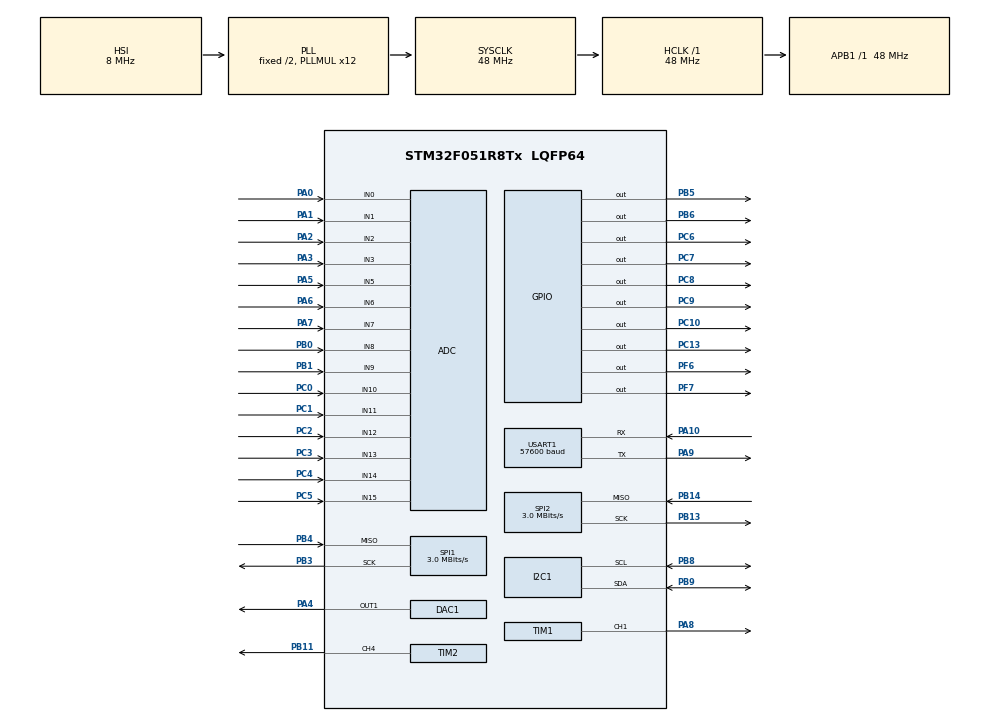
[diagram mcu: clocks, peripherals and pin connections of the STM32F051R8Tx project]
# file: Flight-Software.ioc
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DAC1.DAC_OutputBuffer=DAC_OUTPUTBUFFER_ENABLE
Dma.ADC.0.Direction=DMA_PERIPH_TO_MEMORY
Dma.ADC.0.Instance=DMA1_Channel1
Dma.ADC.0.MemDataAlignment=DMA_MDATAALIGN_HALFWORD
Dma.ADC.0.MemInc=DMA_MINC_ENABLE
Dma.ADC.0.Mode=DMA_NORMAL
Dma.ADC.0.PeriphDataAlignment=DMA_PDATAALIGN_HALFWORD
Dma.ADC.0.PeriphInc=DMA_PINC_DISABLE
Dma.ADC.0.Priority=DMA_PRIORITY_LOW
Dma.Request0=ADC
Mcu.Family=STM32F0
Mcu.Name=STM32F051R8Tx
Mcu.Package=LQFP64
<<<<<<< HEAD:Firmware/Firmware.ioc
=======
>>>>>>> vacuum-test:Flight-Software/Flight-Software.ioc
NVIC.DMA1_Channel1_IRQn=true\:0\:0\:false\:false\:true\:false\:true\:true
NVIC.TIM1_BRK_UP_TRG_COM_IRQn=true\:1\:0\:true\:false\:true\:true\:true\:true
NVIC.TIM1_CC_IRQn=true\:1\:0\:true\:false\:true\:true\:true\:true
NVIC.TIM2_IRQn=true\:1\:0\:true\:false\:true\:true\:true\:true
NVIC.USART1_IRQn=true\:0\:0\:true\:false\:true\:true\:true\:true
PA0.Mode=IN0
PA0.Signal=ADC_IN0
PA1.Mode=IN1
PA1.Signal=ADC_IN1
PA10.Mode=Asynchronous
PA10.Signal=USART1_RX
PA13.Mode=Serial_Wire
PA13.Signal=SYS_SWDIO
PA14.Mode=Serial_Wire
PA14.Signal=SYS_SWCLK
PA2.Mode=IN2
PA2.Signal=ADC_IN2
PA3.Mode=IN3
PA3.Signal=ADC_IN3
PA4.Signal=COMP_DAC11_group
<<<<<<< HEAD:Firmware/Firmware.ioc
=======
PA5.Mode=IN5
PA5.Signal=ADC_IN5
PA6.Mode=IN6
PA6.Signal=ADC_IN6
>>>>>>> vacuum-test:Flight-Software/Flight-Software.ioc
PA7.Mode=IN7
PA7.Signal=ADC_IN7
PA8.Signal=S_TIM1_CH1
PA9.Mode=Asynchronous
PA9.Signal=USART1_TX
PB0.Mode=IN8
PB0.Signal=ADC_IN8
PB1.Mode=IN9
PB1.Signal=ADC_IN9
PB11.Signal=S_TIM2_CH4
PB13.Mode=RX_Only_Simplex_Unidirect_Master
PB13.Signal=SPI2_SCK
PB14.Mode=RX_Only_Simplex_Unidirect_Master
PB14.Signal=SPI2_MISO
PB3.Mode=RX_Only_Simplex_Unidirect_Master
PB3.Signal=SPI1_SCK
PB4.Mode=RX_Only_Simplex_Unidirect_Master
PB4.Signal=SPI1_MISO
<<<<<<< HEAD:Firmware/Firmware.ioc
=======
PB5.Signal=GPIO_Output
PB6.Signal=GPIO_Output
>>>>>>> vacuum-test:Flight-Software/Flight-Software.ioc
PB8.Mode=I2C
PB8.Signal=I2C1_SCL
PB9.Mode=I2C
PB9.Signal=I2C1_SDA
PC0.Mode=IN10
PC0.Signal=ADC_IN10
PC1.Mode=IN11
PC1.Signal=ADC_IN11
PC10.Signal=GPIO_Output
PC13.Signal=GPIO_Output
PC14-OSC32_IN.Mode=LSE-External-Oscillator
PC14-OSC32_IN.Signal=RCC_OSC32_IN
PC15-OSC32_OUT.Mode=LSE-External-Oscillator
PC15-OSC32_OUT.Signal=RCC_OSC32_OUT
PC2.Mode=IN12
PC2.Signal=ADC_IN12
PC3.Mode=IN13
PC3.Signal=ADC_IN13
PC4.Mode=IN14
PC4.Signal=ADC_IN14
PC5.Mode=IN15
PC5.Signal=ADC_IN15
PC6.Signal=GPIO_Output
PC7.Signal=GPIO_Output
PC8.Signal=GPIO_Output
PC9.Signal=GPIO_Output
PF0-OSC_IN.Mode=HSE-External-Oscillator
PF0-OSC_IN.Signal=RCC_OSC_IN
PF1-OSC_OUT.Mode=HSE-External-Oscillator
PF1-OSC_OUT.Signal=RCC_OSC_OUT
PF6.Signal=GPIO_Output
PF7.Signal=GPIO_Output
ProjectManager.HeapSize=0x200
ProjectManager.StackSize=0x400
ProjectManager.TargetToolchain=STM32CubeIDE
RCC.AHBFreq_Value=48000000
RCC.APB1Freq_Value=48000000
RCC.APB1TimFreq_Value=48000000
RCC.HCLKFreq_Value=48000000
RCC.PLLMUL=RCC_PLL_MUL12
RCC.SYSCLKFreq_VALUE=48000000
RCC.SYSCLKSource=RCC_SYSCLKSOURCE_PLLCLK
RCC.Usart1ClockSelection=RCC_USART1CLKSOURCE_HSI
SH.COMP_DAC11_group.0=DAC1_OUT1,DAC_OUT1
SH.S_TIM1_CH1.0=TIM1_CH1,PWM Generation1 CH1
SH.S_TIM2_CH4.0=TIM2_CH4,PWM Generation4 CH4
SPI1.BaudRatePrescaler=SPI_BAUDRATEPRESCALER_16
SPI1.CalculateBaudRate=3.0 MBits/s
SPI1.DataSize=SPI_DATASIZE_16BIT
SPI1.Direction=SPI_DIRECTION_2LINES_RXONLY
SPI1.Mode=SPI_MODE_MASTER
SPI1.VirtualType=VM_MASTER
SPI2.BaudRatePrescaler=SPI_BAUDRATEPRESCALER_16
SPI2.CalculateBaudRate=3.0 MBits/s
SPI2.DataSize=SPI_DATASIZE_16BIT
SPI2.Direction=SPI_DIRECTION_2LINES_RXONLY
SPI2.Mode=SPI_MODE_MASTER
SPI2.VirtualType=VM_MASTER
TIM1.AutoReloadPreload=TIM_AUTORELOAD_PRELOAD_ENABLE
TIM1.Channel-PWM\ Generation1\ CH1=TIM_CHANNEL_1
TIM1.Period=48000 - 1
TIM1.Prescaler=100 - 1
TIM1.Pulse-PWM\ Generation1\ CH1=480 -1
TIM2.AutoReloadPreload=TIM_AUTORELOAD_PRELOAD_ENABLE
TIM2.Channel-PWM\ Generation4\ CH4=TIM_CHANNEL_4
TIM2.Period=60000 - 1
TIM2.Prescaler=100 - 1
TIM2.Pulse-PWM\ Generation4\ CH4=480 - 1
USART1.BaudRate=57600
USART1.VirtualMode-Asynchronous=VM_ASYNC
VP_ADC_TempSens_Input.Mode=IN-TempSens
VP_ADC_Vref_Input.Mode=IN-Vrefint
VP_TIM1_VS_ClockSourceINT.Mode=Internal
VP_TIM2_VS_ClockSourceINT.Mode=Internal
board=custom

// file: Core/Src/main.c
/* USER CODE BEGIN Header */
// ---------------------------- FIRMWARE -------------------------------
/**
 ******************************************************************************
 * @file           : main.c
 * @brief          : Main program body
 ******************************************************************************
 * @attention
 *
 * Copyright (c) 2022 STMicroelectronics.
 * All rights reserved.
 *
 * This software is licensed under terms that can be found in the LICENSE file
 * in the root directory of this software component.
 * If no LICENSE file comes with this software, it is provided AS-IS.
 *
 ******************************************************************************
 */
/* USER CODE END Header */
#include "main.h"

/* USER CODE BEGIN PTD */
const int HK_CADENCE = 1; //Should be set at 5
typedef struct gpio gpio;
struct gpio
{
  GPIO_TypeDef *gpio;
  uint16_t pin;
};
/* Define GPIOs */
gpio _SYS_ON = {GPIOB, GPIO_PIN_5};
gpio _3V3_EN = {GPIOC, GPIO_PIN_7};
gpio _5V_EN = {GPIOC, GPIO_PIN_10};
gpio _N3V3_EN = {GPIOC, GPIO_PIN_6};
gpio _N5V_EN = {GPIOC, GPIO_PIN_8};
gpio _15V_EN = {GPIOC, GPIO_PIN_9};
gpio _N200V_EN = {GPIOC, GPIO_PIN_13};
gpio _N800V_EN = {GPIOB, GPIO_PIN_6};
gpio _SDN1 = {GPIOF, GPIO_PIN_6};
gpio _SDN2 = {GPIOF, GPIO_PIN_7};

const gpio gpios[] = {{GPIOB, GPIO_PIN_5}, {GPIOB, GPIO_PIN_6}, {GPIOC, GPIO_PIN_10}, {GPIOC, GPIO_PIN_13}, {GPIOC, GPIO_PIN_7}, {GPIOC, GPIO_PIN_8}, {GPIOC, GPIO_PIN_9}, {GPIOC, GPIO_PIN_6}, {GPIOF, GPIO_PIN_6}, {GPIOF, GPIO_PIN_7}};

/* USER CODE END PTD */

ADC_HandleTypeDef hadc;
DMA_HandleTypeDef hdma_adc;

DAC_HandleTypeDef hdac1;

I2C_HandleTypeDef hi2c1;

SPI_HandleTypeDef hspi1;
SPI_HandleTypeDef hspi2;

TIM_HandleTypeDef htim1;
TIM_HandleTypeDef htim2;

UART_HandleTypeDef huart1;

/* USER CODE BEGIN PV */
#define BUFFER_SIZE 100
uint8_t rx_buf[BUFFER_SIZE];
UART_WakeUpTypeDef WakeUpSelection;

/* Hexadecimal Addresses for I2C Temperature Sensors */
static const uint8_t I2C_addresses[4] = {(0x48 << 1), (0x4A << 1), (0x49 << 1), (0x4B << 1)};
static const uint8_t ADT7410_1 = 0x48 << 1;
static const uint8_t ADT7410_2 = 0x4A << 1;
static const uint8_t ADT7410_3 = 0x49 << 1;
static const uint8_t ADT7410_4 = 0x4B << 1;

/* Internal ADC DMA variables */
#define ADCRESULTSDMA_LENGTH 17
volatile uint16_t adcResultsDMA[ADCRESULTSDMA_LENGTH]; // array to store results of Internal ADC Poll (not sure if it has to be "volatile")
const int adcChannelCount = sizeof(adcResultsDMA) / sizeof(adcResultsDMA[0]); // variable to store the number of ADCs in use

/* DAC Variables for SWP */
/* uint32_t DAC_OUT[] = {0, 683, 1365, 2048, 2730, 3413}; */
uint32_t DAC_OUT[8] = {0, 620, 1241, 1861, 2482, 3103, 3723, 4095}; // For 3.3 volts
uint8_t step = 0;
int up = 1;

/* SPI Variables */
int raw; // Stores raw value from SPI Transfer
int pmt_raw;
int erpa_raw;
const int WRITE = 0x1; // Hex 0x1 that is sent to external ADC to trigger transfer of data

/* UART Variables */
uint8_t erpa_buf[14]; // buffer that is filled with ERPA packet info
const uint8_t erpa_sync = 0xAA; // SYNC byte to let packet interpreter / OBC know which packet is which
uint16_t erpa_seq = 0; // SEQ byte which keeps track of what # ERPA packet is being sent (0-65535)
uint8_t pmt_buf[6]; // buffer that is filled with PMT packet info
const uint8_t pmt_sync = 0xBB; // SYNC byte to let packet interpreter / OBC know which packet is which
uint16_t pmt_seq = 0; // SEQ byte which keeps track of what # ERPA packet is being sent (0-65535)
uint8_t hk_buf[38]; // buffer that is filled with HK packet info
const uint8_t hk_sync = 0xCC; // SYNC byte to let packet interpreter / OBC know which packet is which
uint16_t hk_seq = 0; // SEQ byte which keeps track of what # HK packet is being sent (0-65535)

int hk_counter = 0; // counter to know when to send HK packet (sent every 50 ERPA packets)
					// we put them in the same routine and send HK when this count == 50
int startupTimer = 0;
uint8_t PMT_ON = 1;
uint8_t ERPA_ON = 1;
uint8_t HK_ON = 1;

static const uint8_t REG_TEMP = 0x00;

#define PA1_MIN 3350
#define PA1_MAX 4096
#define PA2_MIN 0
#define PA2_MAX 0
#define PA3_MIN 3350
#define PA3_MAX 4095
#define PA5_MIN 3540
#define PA5_MAX 4327
#define PA6_MIN 2859
#define PA6_MAX 3494
#define PC0_MIN 2792
#define PC0_MAX 3412
#define PC1_MIN 3428
#define PC1_MAX 4191
#define PC2_MIN 3350
#define PC2_MAX 4288
#define PC3_MIN 3508
#define PC3_MAX 4288
#define PC4_MIN 3350
#define PC4_MAX 4095
#define PC5_MIN 3340
#define PC5_MAX 4082

/* USER CODE END PV */

void SystemClock_Config(void);
static void MX_GPIO_Init(void);
static void MX_DMA_Init(void);
static void MX_SPI2_Init(void);
static void MX_TIM1_Init(void);
static void MX_TIM2_Init(void);
static void MX_SPI1_Init(void);
static void MX_USART1_UART_Init(void);
static void MX_DAC1_Init(void);
static void MX_ADC_Init(void);
static void MX_I2C1_Init(void);

/* USER CODE BEGIN 0 */

/* TS_CAL1 & TS_CAL2 */
// #define TS_CAL1 *((uint16_t*) 0x1FFFF7B8)
// #define TS_CAL2 *((uint16_t*) 0x1FFFF7C2)

void HAL_TIM_OC_DelayElapsedCallback(TIM_HandleTypeDef *htim)
{
  if (htim == &htim2)
  {
	if (1)
	{ // check pin state
	  if (ERPA_ON)
	  {
		/**
		 * TIM1_CH1 Interrupt
		 * Sets CNV and samples ERPA's ADC
		 * Steps DAC
		 * +/- 0.5v Every 100ms
		 */

		/* Write to SPI (begin transfer?) */

		while(HAL_GPIO_ReadPin(GPIOB, GPIO_PIN_11));
					//check pin state

		/**
		 * TIM1_CH1 Interrupt
		 * Sets CNV and samples ERPA's ADC
		 * Steps DAC
		 * +/- 0.5v Every 100ms
		*/

		  /* Write to SPI (begin transfer?) */
		HAL_SPI_Transmit(&hspi2, (uint8_t * ) &WRITE, 1, 1);
		SPI2->CR1 &= ~(1<<10); // THIS IS NEEDED TO STOP SPI1_SCK FROM GENERATING CLOCK PULSES
		while (!(SPI2->SR));
		erpa_raw = SPI2->DR;

		DAC->DHR12R1 = DAC_OUT[step];

		HAL_ADC_Start_DMA(&hadc, (uint32_t *)adcResultsDMA,
						  adcChannelCount);
		uint16_t PA0 = adcResultsDMA[0]; 				// ADC_IN0, END_mon: entrance/collimator monitor
		uint16_t PA7 = adcResultsDMA[6]; 				// ADC_IN7, SWP_mon: Sweep voltage monitor
		uint16_t PB0 = adcResultsDMA[7]; 				// ADC_IN8, TMP 1: Sweep temperature
		uint16_t PB1 = adcResultsDMA[8]; 				// ADC_IN9, TMP 2: feedbacks

		erpa_buf[0] = erpa_sync;                  		// ERPA SYNC 0xAA MSB
		erpa_buf[1] = erpa_sync;                  		// ERPA SYNC 0xAA LSB
		erpa_buf[2] = ((erpa_seq & 0xFF00) >> 8); 		// ERPA SEQ # MSB
		erpa_buf[3] = (erpa_seq & 0xFF);          		// ERPA SEQ # MSB
		erpa_buf[4] = ((PA0 & 0xFF00) >> 8); 	  		// ENDmon MSB
		erpa_buf[5] = (PA0 & 0xFF);               		// ENDmon LSB
		erpa_buf[6] = ((PA7 & 0xFF00) >> 8);      		// SWP Monitored MSB
		erpa_buf[7] = (PA7 & 0xFF);               		// SWP Monitored LSB
		erpa_buf[8] = ((PB0 & 0xFF00) >> 8);      		// TEMPURATURE 1 MSB
		erpa_buf[9] = (PB0 & 0xFF);               		// TEMPURATURE 1 LSB
		erpa_buf[10] = ((PB1 & 0xFF00) >> 8);     		// TEMPURATURE 2 MSB
		erpa_buf[11] = (PB1 & 0xFF);                    // TEMPURATURE 2 LSB
		erpa_buf[12] = ((erpa_raw & 0xFF00) >> 8);      // ERPA eADC MSB
		erpa_buf[13] = (erpa_raw & 0xFF);               // ERPA eADC LSB

		erpa_seq++;
		if (ERPA_ON)
		{
		  HAL_UART_Transmit(&huart1, erpa_buf, sizeof(erpa_buf), 100);
		}
	  }
	  if (HK_ON)
	  {
		if (hk_counter == HK_CADENCE)
		{
		  uint8_t buf[2];
		  int16_t val;
		  HAL_StatusTypeDef ret;
		  float temp_c;
		  int16_t output1;
		  int16_t output2;
		  int16_t output3;
		  int16_t output4;

		  buf[0] = REG_TEMP;
		  ret = HAL_I2C_Master_Transmit(&hi2c1, ADT7410_1, buf, 1,
										1000);
		  if (ret != HAL_OK)
		  {
			strcpy((char *)buf, "Error Tx\r\n");
		  }
		  else
		  {

			/* Read 2 bytes from the temperature register */
			ret = HAL_I2C_Master_Receive(&hi2c1, ADT7410_1, buf, 2,
										 1000);
			if (ret != HAL_OK)
			{
			  strcpy((char *)buf, "Error Rx\r\n");
			}
			else
			{
			  output1 = (int16_t)(buf[0] << 8);
			  output1 = (output1 | buf[1]) >> 3;
			}
		  }

		  /* Tell ADT7410_2 that we want to read from the temperature register */
		  buf[0] = REG_TEMP;
		  ret = HAL_I2C_Master_Transmit(&hi2c1, ADT7410_2, buf, 1,
										1000);
		  /* I2C_HandleTypeDef *hi2c, uint16_t DevAddress, uint8_t *pData, uint16_t Size, uint32_t Timeout) */
		  if (ret != HAL_OK)
		  {
			strcpy((char *)buf, "Error Tx\r\n");
		  }
		  else
		  {

			/* Read 2 bytes from the temperature register */
			ret = HAL_I2C_Master_Receive(&hi2c1, ADT7410_2, buf, 2,
										 1000);
			if (ret != HAL_OK)
			{
			  strcpy((char *)buf, "Error Rx\r\n");
			}
			else
			{

			  output2 = (int16_t)(buf[0] << 8);
			  output2 = (output2 | buf[1]) >> 3;
			}
		  }
		  // TEMP SENSOR 3
		  buf[0] = REG_TEMP;
		  ret = HAL_I2C_Master_Transmit(&hi2c1, ADT7410_3, buf, 1,
										1000);
		  /* I2C_HandleTypeDef *hi2c, uint16_t DevAddress, uint8_t *pData, uint16_t Size, uint32_t Timeout) */
		  if (ret != HAL_OK)
		  {
			strcpy((char *)buf, "Error Tx\r\n");
		  }
		  else
		  {

			/* Read 2 bytes from the temperature register */
			ret = HAL_I2C_Master_Receive(&hi2c1, ADT7410_3, buf, 2,
										 1000);
			if (ret != HAL_OK)
			{
			  strcpy((char *)buf, "Error Rx\r\n");
			}
			else
			{

			  output3 = (int16_t)(buf[0] << 8);
			  output3 = (output3 | buf[1]) >> 3;
			}
		  }
		  /* TEMP SENSOR 4 */
		  buf[0] = REG_TEMP;
		  ret = HAL_I2C_Master_Transmit(&hi2c1, ADT7410_4, buf, 1,
										1000);
		  /* I2C_HandleTypeDef *hi2c, uint16_t DevAddress, uint8_t *pData, uint16_t Size, uint32_t Timeout) */
		  if (ret != HAL_OK)
		  {
			strcpy((char *)buf, "Error Tx\r\n");
		  }
		  else
		  {

			/* Read 2 bytes from the temperature register */
			ret = HAL_I2C_Master_Receive(&hi2c1, ADT7410_4, buf, 2,
										 1000);
			if (ret != HAL_OK)
			{
			  strcpy((char *)buf, "Error Rx\r\n");
			}
			else
			{

			  output4 = (int16_t)(buf[0] << 8);
			  output4 = (output4 | buf[1]) >> 3;
			}
		  }

		  HAL_ADC_Start_DMA(&hadc, (uint32_t *)adcResultsDMA,
							adcChannelCount);

		  uint16_t MCU_TEMP = adcResultsDMA[15]; //(internally connected) ADC_IN16, VSENSE
		  uint16_t MCU_VREF = adcResultsDMA[16]; //(internally connected) ADC_IN17, VREFINT

		  uint16_t PA1 = adcResultsDMA[1];       // ADC_IN1, BUS_Vmon: instrument bus voltage monitor
		  if (PA1 < PA1_MIN || PA1 > PA1_MAX) {
			  // Turn off corresponding GPIO --> SYS_ON --> PB5
			  HAL_GPIO_WritePin(_SYS_ON.gpio, _SYS_ON.pin, GPIO_PIN_RESET);
			  // Reset system
			  NVIC_SystemReset();
		  }
		  uint16_t PA2 = adcResultsDMA[2];       // ADC_IN2, BUS_Imon: instrument bus current monitor
		  if (PA2 < PA2_MIN || PA1 > PA2_MAX) {
			  // Turn off corresponding GPIO --> SYS_ON --> PB5
			  HAL_GPIO_WritePin(_SYS_ON.gpio, _SYS_ON.pin, GPIO_PIN_RESET);
			  // Reset system
			  NVIC_SystemReset();
		   }
		  uint16_t PA3 = adcResultsDMA[3];       // ADC_IN3, 3v3_mon: Accurate 5V for ADC monitor
		  if (PA3 < PA3_MIN || PA3 > PA3_MAX) {
			  // Turn off corresponding GPIO --> 3v3_EN --> PC7
			  HAL_GPIO_WritePin(_3V3_EN.gpio, _3V3_EN.pin, GPIO_PIN_RESET);
			  // Reset system
			  NVIC_SystemReset();
		   }
		  uint16_t PA5 = adcResultsDMA[4];       // ADC_IN5, n200v_mon: n200 voltage monitor
		  if (PA5 < PA5_MIN || PA5 > PA5_MAX) {
			  // Turn off corresponding GPIO --> n200v_EN --> PC13
			  HAL_GPIO_WritePin(_N200V_EN.gpio, _N200V_EN.pin, GPIO_PIN_RESET);
			  // Reset system
			  NVIC_SystemReset();
		  }
		  uint16_t PA6 = adcResultsDMA[5];       // ADC_IN6, n800v_mon: n800 voltage monitor
		  if (PA6 < PA6_MIN || PA6 > PA6_MAX) {
			  // Turn off corresponding GPIO --> 800HVON --> PB6
			  HAL_GPIO_WritePin(_N800V_EN.gpio, _N800V_EN.pin, GPIO_PIN_RESET);
			  // Reset system
			  NVIC_SystemReset();
		  }
		  uint16_t PC0 = adcResultsDMA[9];       // ADC_IN10, 2v5_mon: 2.5v voltage monitor
		  if (PC0 < PC0_MIN || PC0 > PC0_MAX) {
			  // Turn off corresponding GPIO --> SYS_ON (No corresponding EN) --> PB5
			  HAL_GPIO_WritePin(_SYS_ON.gpio, _SYS_ON.pin, GPIO_PIN_RESET);
			  // Reset system
			  NVIC_SystemReset();
		  }
		  uint16_t PC1 = adcResultsDMA[10];      // ADC_IN11, n5v_mon: n5v voltage monitor
		  if (PC1 < PC1_MIN || PC1 > PC1_MAX) {
			  // Turn off corresponding GPIO --> n5v_EN --> PC8
			  HAL_GPIO_WritePin(_N5V_EN.gpio, _N5V_EN.pin, GPIO_PIN_RESET);
			  // Reset system
			  NVIC_SystemReset();
		  }
		  uint16_t PC2 = adcResultsDMA[11];      // ADC_IN12, 5v_mon: 5v voltage monitor
		  if (PC2 < PC2_MIN || PC2 > PC2_MAX) {
			  // Turn off corresponding GPIO --> 5v_EN --> PC10
			  HAL_GPIO_WritePin(_5V_EN.gpio, _5V_EN.pin, GPIO_PIN_RESET);
			  // Reset system
			  NVIC_SystemReset();
		  }
		  uint16_t PC3 = adcResultsDMA[12];      // ADC_IN13, n3v3_mon: n3v3 voltage monitor
		  if (PC3 < PC3_MIN || PC3 > PC3_MAX) {
			  // Turn off corresponding GPIO --> n3v3_EN --> PC6
			  HAL_GPIO_WritePin(_N3V3_EN.gpio, _N3V3_EN.pin, GPIO_PIN_RESET);
			  // Reset system
			  NVIC_SystemReset();
		  }
		  uint16_t PC4 = adcResultsDMA[13];      // ADC_IN14, 5vref_mon: 5v reference voltage monitor
		  if (PC4 < PC4_MIN || PC4 > PC4_MAX) {
			  // Turn off corresponding GPIO --> 15v_EN --> PC9
			  HAL_GPIO_WritePin(_15V_EN.gpio, _15V_EN.pin, GPIO_PIN_RESET);
			  // Reset system
			  NVIC_SystemReset();
		  }
		  uint16_t PC5 = adcResultsDMA[14];      // ADC_IN15, 15v_mon: 15v voltage monitor
		  if (PC5 < PC5_MIN || PC5 > PC5_MAX) {
			  // Turn off corresponding GPIO --> 15v_EN --> PC9
			  gpio _3V3_EN = {GPIOC, GPIO_PIN_7};
			  // Reset system
			  NVIC_SystemReset();
		  }

		  hk_buf[0] = hk_sync;                     // HK SYNC 0xCC MSB					0 SYNC
		  hk_buf[1] = hk_sync;                     // HK SYNC 0xCC LSB
		  hk_buf[2] = ((hk_seq & 0xFF00) >> 8);    // HK SEQ # MSB		1 SEQUENCE
		  hk_buf[3] = (hk_seq & 0xFF);             // HK SEQ # LSB
		  hk_buf[4] = ((MCU_TEMP & 0xFF00) >> 8); // VSENSE MSB		13 VSENSE
		  hk_buf[5] = (MCU_TEMP & 0xFF);          // VSENSE LSB
		  hk_buf[6] = ((MCU_VREF & 0xFF00) >> 8);
		  hk_buf[7] = (MCU_VREF & 0xFF);
		  hk_buf[8] = ((output1 & 0xFF00) >> 8);
		  hk_buf[9] = (output1 & 0xFF);
		  hk_buf[10] = ((output2 & 0xFF00) >> 8);
		  hk_buf[11] = (output2 & 0xFF);
		  hk_buf[12] = ((output3 & 0xFF00) >> 8);
		  hk_buf[13] = (output3 & 0xFF);
		  hk_buf[14] = ((output4 & 0xFF00) >> 8);
		  hk_buf[15] = (output4 & 0xFF);
		  hk_buf[16] = ((PA1 & 0xFF00) >> 8);       // BUS_Vmon MSB			2 BUS_VMON PA1
		  hk_buf[17] = (PA1 & 0xFF);                // BUS_Vmon LSB
		  hk_buf[18] = ((PA2 & 0xFF00) >> 8);       // BUS_Imon MSB			3 BUS_IMON PA2
		  hk_buf[19] = (PA2 & 0xFF);                // BUS_Imon LSB
		  hk_buf[20] = ((PC0 & 0xFF00) >> 8);      	// 2v5_mon MSB			7 2V5_MON PC0
		  hk_buf[21] = (PC0 & 0xFF);               	// 2v5_mon LSB
		  hk_buf[22] = ((PA3 & 0xFF00) >> 8);       // 3v3_mon MSB			4 3v3_MON PA3
		  hk_buf[23] = (PA3 & 0xFF);                // 3v3_mon LSB
		  hk_buf[24] = ((PC2 & 0xFF00) >> 8);      	// 5v_mon MSB			9 5V_MON PC2
		  hk_buf[25] = (PC2 & 0xFF);               	// 5v_mon LSB
		  hk_buf[26] = ((PC3 & 0xFF00) >> 8);      	// n3v3_mon MSB			10 N3V3_MON PC3
		  hk_buf[27] = (PC3 & 0xFF);               	// n3v3_mon LSB
		  hk_buf[28] = ((PC1 & 0xFF00) >> 8);      	// n5v_mon MSB			8 N5V_MON PC1
		  hk_buf[29] = (PC1 & 0xFF);               	// n5v_mon LSB
		  hk_buf[30] = ((PC5 & 0xFF00) >> 8);      	// 15v_mon MSB			12 15V_MON PC5
		  hk_buf[31] = (PC5 & 0xFF);               	// 15v_mon LSB
		  hk_buf[32] = ((PC4 & 0xFF00) >> 8);      	// 5vref_mon MSB		11 5VREF_MON PC4
		  hk_buf[33] = (PC4 & 0xFF);               	// 5vref_mon LSB
		  hk_buf[34] = ((PA5 & 0xFF00) >> 8);      	// n150v_mon MSB		5 N150V_MON PA5
		  hk_buf[35] = (PA5 & 0xFF);               	// n150v_mon LSB
		  hk_buf[36] = ((PA6 & 0xFF00) >> 8);      	// n800v_mon MSB		6 N800V_MON PA6
		  hk_buf[37] = (PA6 & 0xFF);               	// n800v_mon LSB

		  if (HK_ON)
		  {
		   HAL_UART_Transmit(&huart1, hk_buf, sizeof(hk_buf), 100);
		  }
		  hk_counter = 1;
		  hk_seq++;
		}
		else
		{
		  hk_counter++;
		}
	  }
	}
  }
  else if (htim == &htim1)
  {
	if (1)
	{
	  if (PMT_ON)
	  { // check pin state

		while(HAL_GPIO_ReadPin(GPIOA, GPIO_PIN_8));

		/**
		 * TIM1_CH1 Interrupt
		 * Sets CNV and samples UVPMT's ADC
		 * Every 125ms
		 */

		/* Write to SPI (begin transfer?) */
		HAL_SPI_Transmit(&hspi1, (uint8_t * ) &WRITE, 1, 1);
		SPI1->CR1 &= ~(1<<10); // THIS IS NEEDED TO STOP SPI1_SCK FROM GENERATING CLOCK PULSES
		while (!(SPI1->SR));

		//RXNE here

		pmt_raw = SPI1->DR;

		int r = pmt_raw;

		/*
		pmt_data data;
		data.pmt_raw = raw;
		data.pmt_seq = pmt_seq;

		uint8_t* abstraction_test_buf = fill_pmt_data(data);
		*/
		  pmt_buf[0] = pmt_sync;
		  pmt_buf[1] = pmt_sync;
		  pmt_buf[2] = ((pmt_seq & 0xFF00) >> 8);
		  pmt_buf[3] = (pmt_seq & 0xFF);
		  pmt_buf[4] = ((pmt_raw & 0xFF00) >> 8);
		  pmt_buf[5] = (pmt_raw & 0xFF);

		  pmt_seq++;
		  HAL_UART_Transmit(&huart1, pmt_buf, sizeof(pmt_buf), 100);
		  /*HAL_UART_Transmit(&huart1, abstraction_test_buf, sizeof(abstraction_test_buf), 100);*/
	  }
	}
  }

  /* Timer 3 also called but doesn't need to do anything on IT */
}

/*
void HAL_UART_RxCpltCallback(UART_HandleTypeDef *huart)
{

//  HAL_UART_Receive_IT(&huart1, rx_buf, 1);
  char key = rx_buf[0];

  switch (key)
  {
  case 'G':
  {
    HAL_GPIO_WritePin(gpios[8].gpio, gpios[8].pin, GPIO_PIN_SET);
    break;
  }
  case 'H':
  {
    HAL_GPIO_WritePin(gpios[8].gpio, gpios[8].pin, GPIO_PIN_RESET);
    break;
  }

  case 'I':
  {
    HAL_GPIO_WritePin(gpios[9].gpio, gpios[9].pin, GPIO_PIN_SET);
    break;
  }
  case 'J':
  {
    HAL_GPIO_WritePin(gpios[9].gpio, gpios[9].pin, GPIO_PIN_RESET);
    break;
  }
  case '<':
  {
    if (step < 7)
    {
      step++;
    }
    break;
  }
  case '>':
  {
    if (step > 0)
    {
      step--;
    }
    break;
  }
  case 'a':
  {
    HAL_GPIO_WritePin(gpios[0].gpio, gpios[0].pin, GPIO_PIN_SET);
    break;
  }
  case '$':
  {
    HAL_GPIO_WritePin(gpios[0].gpio, gpios[0].pin, GPIO_PIN_RESET);
    break;
  }
  case 'b':
  {
    HAL_GPIO_WritePin(gpios[1].gpio, gpios[1].pin, GPIO_PIN_SET);
    break;
  }
  case '%':
  {
    HAL_GPIO_WritePin(gpios[1].gpio, gpios[1].pin, GPIO_PIN_RESET);
    break;
  }
  case 'c':
  {
    HAL_GPIO_WritePin(gpios[2].gpio, gpios[2].pin, GPIO_PIN_SET);
    break;
  }
  case '^':
  {
    HAL_GPIO_WritePin(gpios[2].gpio, gpios[2].pin, GPIO_PIN_RESET);
    break;
  }
  case 'd':
  {
    HAL_GPIO_WritePin(gpios[3].gpio, gpios[3].pin, GPIO_PIN_SET);
    break;
  }
  case '&':
  {
    HAL_GPIO_WritePin(gpios[3].gpio, gpios[3].pin, GPIO_PIN_RESET);
    break;
  }
  case 'e':
  {
    HAL_GPIO_WritePin(gpios[4].gpio, gpios[4].pin, GPIO_PIN_SET);
    break;
  }
  case '*':
  {
    HAL_GPIO_WritePin(gpios[4].gpio, gpios[4].pin, GPIO_PIN_RESET);
    break;
  }
  case 'f':
  {
    HAL_GPIO_WritePin(gpios[5].gpio, gpios[5].pin, GPIO_PIN_SET);
    break;
  }
  case '(':
  {
    HAL_GPIO_WritePin(gpios[5].gpio, gpios[5].pin, GPIO_PIN_RESET);
    break;
  }
  case 'g':
  {
    HAL_GPIO_WritePin(gpios[6].gpio, gpios[6].pin, GPIO_PIN_SET);
    break;
  }
  case ')':
  {
    HAL_GPIO_WritePin(gpios[6].gpio, gpios[6].pin, GPIO_PIN_RESET);
    break;
  }
  case 'h':
  {
    HAL_GPIO_WritePin(gpios[7].gpio, gpios[7].pin, GPIO_PIN_SET);
    break;
  }
  case '-':
  {
    HAL_GPIO_WritePin(gpios[7].gpio, gpios[7].pin, GPIO_PIN_RESET);
    break;
  }
  case 's':
  {
      HAL_SuspendTick();
      HAL_PWR_EnterSTOPMode(PWR_LOWPOWERREGULATOR_ON, PWR_STOPENTRY_WFI);
      NVIC_SystemReset();
      break;
  }
  case '1':
  {
    PMT_ON = 1;
    break;
  }
  case '!':
  {
    PMT_ON = 0;
    break;
  }
  case '2':
  {
    ERPA_ON = 1;
    break;
  }
  case '@':
  {
    ERPA_ON = 0;
    break;
  }
  case '3':
  {
    HK_ON = 1;
    break;
  }
  case '#':
  {
    HK_ON = 0;
    break;
  }
  }
}
*/

/* USER CODE END 0 */

int main(void)
{

  /* MCU Configuration--------------------------------------------------------*/

  /* Reset of all peripherals, Initializes the Flash interface and the Systick. */
  HAL_Init();

  /* USER CODE BEGIN Init */
  HAL_StatusTypeDef ret;
  uint8_t buf[2];
  int16_t val;
  float temp_c;
  /* USER CODE END Init */

  /* Configure the system clock */
  SystemClock_Config();

  /* Initialize all configured peripherals */
  MX_GPIO_Init();
  MX_DMA_Init();
  MX_SPI2_Init();
  MX_TIM1_Init();
  MX_TIM2_Init();
  MX_SPI1_Init();
  MX_USART1_UART_Init();
  MX_DAC1_Init();
  MX_ADC_Init();
  MX_I2C1_Init();
  /* USER CODE BEGIN 2 */
  HAL_DAC_Start(&hdac1, DAC_CHANNEL_1);

  /* Pull All GPIOS Low at the begin */
  for (int i = 0; i < (sizeof(gpios) / sizeof(gpios[0])); i++) {
	  HAL_GPIO_WritePin(gpios[i].gpio, gpios[i].pin, GPIO_PIN_RESET);
  }

  /* Start Timers with OC & Interrupt */
  HAL_TIM_OC_Start_IT(&htim1, TIM_CHANNEL_1);
  HAL_TIM_OC_Start_IT(&htim2, TIM_CHANNEL_4);

  while (__HAL_UART_GET_FLAG(&huart1, USART_ISR_BUSY) == SET);
  while (__HAL_UART_GET_FLAG(&huart1, USART_ISR_REACK) == RESET);

  WakeUpSelection.WakeUpEvent = UART_WAKEUP_ON_ADDRESS;
  WakeUpSelection.AddressLength = UART_ADDRESS_DETECT_7B;
  WakeUpSelection.Address = 0x23; // send "£"

  if (HAL_UARTEx_StopModeWakeUpSourceConfig(&huart1, WakeUpSelection) != HAL_OK) {
      Error_Handler();
  }
  /* Enable the LPUART Wake UP from stop mode Interrupt */
  __HAL_UART_ENABLE_IT(&huart1, UART_IT_WUF);

  /* enable MCU wake-up by LPUART */
  HAL_UARTEx_EnableStopMode(&huart1);
  /* USER CODE END 2 */

  /* Infinite loop */
  /* USER CODE BEGIN WHILE */
  while (1)
  {

  }
}

void SystemClock_Config(void)
{
  RCC_OscInitTypeDef RCC_OscInitStruct = {0};
  RCC_ClkInitTypeDef RCC_ClkInitStruct = {0};
  RCC_PeriphCLKInitTypeDef PeriphClkInit = {0};

  /** Initializes the RCC Oscillators according to the specified parameters
  * in the RCC_OscInitTypeDef structure.
  */
  RCC_OscInitStruct.OscillatorType = RCC_OSCILLATORTYPE_HSI|RCC_OSCILLATORTYPE_HSI14;
  RCC_OscInitStruct.HSIState = RCC_HSI_ON;
  RCC_OscInitStruct.HSI14State = RCC_HSI14_ON;
  RCC_OscInitStruct.HSICalibrationValue = RCC_HSICALIBRATION_DEFAULT;
  RCC_OscInitStruct.HSI14CalibrationValue = 16;
  RCC_OscInitStruct.PLL.PLLState = RCC_PLL_ON;
  RCC_OscInitStruct.PLL.PLLSource = RCC_PLLSOURCE_HSI;
  RCC_OscInitStruct.PLL.PLLMUL = RCC_PLL_MUL12;
  RCC_OscInitStruct.PLL.PREDIV = RCC_PREDIV_DIV1;
  if (HAL_RCC_OscConfig(&RCC_OscInitStruct) != HAL_OK)
  {
    Error_Handler();
  }

  /** Initializes the CPU, AHB and APB buses clocks
  */
  RCC_ClkInitStruct.ClockType = RCC_CLOCKTYPE_HCLK|RCC_CLOCKTYPE_SYSCLK
                              |RCC_CLOCKTYPE_PCLK1;
  RCC_ClkInitStruct.SYSCLKSource = RCC_SYSCLKSOURCE_PLLCLK;
  RCC_ClkInitStruct.AHBCLKDivider = RCC_SYSCLK_DIV1;
  RCC_ClkInitStruct.APB1CLKDivider = RCC_HCLK_DIV1;

  if (HAL_RCC_ClockConfig(&RCC_ClkInitStruct, FLASH_LATENCY_1) != HAL_OK)
  {
    Error_Handler();
  }
  PeriphClkInit.PeriphClockSelection = RCC_PERIPHCLK_USART1|RCC_PERIPHCLK_I2C1;
  PeriphClkInit.Usart1ClockSelection = RCC_USART1CLKSOURCE_HSI;
  PeriphClkInit.I2c1ClockSelection = RCC_I2C1CLKSOURCE_HSI;
  if (HAL_RCCEx_PeriphCLKConfig(&PeriphClkInit) != HAL_OK)
  {
    Error_Handler();
  }
}

static void MX_ADC_Init(void)
{

  ADC_ChannelConfTypeDef sConfig = {0};

  /** Configure the global features of the ADC (Clock, Resolution, Data Alignment and number of conversion)
  */
  hadc.Instance = ADC1;
  hadc.Init.ClockPrescaler = ADC_CLOCK_ASYNC_DIV1;
  hadc.Init.Resolution = ADC_RESOLUTION_12B;
  hadc.Init.DataAlign = ADC_DATAALIGN_RIGHT;
  hadc.Init.ScanConvMode = ADC_SCAN_DIRECTION_FORWARD;
  hadc.Init.EOCSelection = ADC_EOC_SINGLE_CONV;
  hadc.Init.LowPowerAutoWait = DISABLE;
  hadc.Init.LowPowerAutoPowerOff = DISABLE;
  hadc.Init.ContinuousConvMode = DISABLE;
  hadc.Init.DiscontinuousConvMode = DISABLE;
  hadc.Init.ExternalTrigConv = ADC_SOFTWARE_START;
  hadc.Init.ExternalTrigConvEdge = ADC_EXTERNALTRIGCONVEDGE_NONE;
  hadc.Init.DMAContinuousRequests = DISABLE;
  hadc.Init.Overrun = ADC_OVR_DATA_PRESERVED;
  if (HAL_ADC_Init(&hadc) != HAL_OK)
  {
    Error_Handler();
  }

  /** Configure for the selected ADC regular channel to be converted.
  */
  sConfig.Channel = ADC_CHANNEL_0;
  sConfig.Rank = ADC_RANK_CHANNEL_NUMBER;
  sConfig.SamplingTime = ADC_SAMPLETIME_1CYCLE_5;
  if (HAL_ADC_ConfigChannel(&hadc, &sConfig) != HAL_OK)
  {
    Error_Handler();
  }

  /** Configure for the selected ADC regular channel to be converted.
  */
  sConfig.Channel = ADC_CHANNEL_1;
  if (HAL_ADC_ConfigChannel(&hadc, &sConfig) != HAL_OK)
  {
    Error_Handler();
  }

  /** Configure for the selected ADC regular channel to be converted.
  */
  sConfig.Channel = ADC_CHANNEL_2;
  if (HAL_ADC_ConfigChannel(&hadc, &sConfig) != HAL_OK)
  {
    Error_Handler();
  }

  /** Configure for the selected ADC regular channel to be converted.
  */
  sConfig.Channel = ADC_CHANNEL_3;
  if (HAL_ADC_ConfigChannel(&hadc, &sConfig) != HAL_OK)
  {
    Error_Handler();
  }

  /** Configure for the selected ADC regular channel to be converted.
  */
  sConfig.Channel = ADC_CHANNEL_5;
  if (HAL_ADC_ConfigChannel(&hadc, &sConfig) != HAL_OK)
  {
    Error_Handler();
  }

  /** Configure for the selected ADC regular channel to be converted.
  */
  sConfig.Channel = ADC_CHANNEL_6;
  if (HAL_ADC_ConfigChannel(&hadc, &sConfig) != HAL_OK)
  {
    Error_Handler();
  }

  /** Configure for the selected ADC regular channel to be converted.
  */
  sConfig.Channel = ADC_CHANNEL_7;
  if (HAL_ADC_ConfigChannel(&hadc, &sConfig) != HAL_OK)
  {
    Error_Handler();
  }

  /** Configure for the selected ADC regular channel to be converted.
  */
  sConfig.Channel = ADC_CHANNEL_8;
  if (HAL_ADC_ConfigChannel(&hadc, &sConfig) != HAL_OK)
  {
    Error_Handler();
  }

  /** Configure for the selected ADC regular channel to be converted.
  */
  sConfig.Channel = ADC_CHANNEL_9;
  if (HAL_ADC_ConfigChannel(&hadc, &sConfig) != HAL_OK)
  {
    Error_Handler();
  }

  /** Configure for the selected ADC regular channel to be converted.
  */
  sConfig.Channel = ADC_CHANNEL_10;
  if (HAL_ADC_ConfigChannel(&hadc, &sConfig) != HAL_OK)
  {
    Error_Handler();
  }

  /** Configure for the selected ADC regular channel to be converted.
  */
  sConfig.Channel = ADC_CHANNEL_11;
  if (HAL_ADC_ConfigChannel(&hadc, &sConfig) != HAL_OK)
  {
    Error_Handler();
  }

  /** Configure for the selected ADC regular channel to be converted.
  */
  sConfig.Channel = ADC_CHANNEL_12;
  if (HAL_ADC_ConfigChannel(&hadc, &sConfig) != HAL_OK)
  {
    Error_Handler();
  }

  /** Configure for the selected ADC regular channel to be converted.
  */
  sConfig.Channel = ADC_CHANNEL_13;
  if (HAL_ADC_ConfigChannel(&hadc, &sConfig) != HAL_OK)
  {
    Error_Handler();
  }

  /** Configure for the selected ADC regular channel to be converted.
  */
  sConfig.Channel = ADC_CHANNEL_14;
  if (HAL_ADC_ConfigChannel(&hadc, &sConfig) != HAL_OK)
  {
    Error_Handler();
  }

  /** Configure for the selected ADC regular channel to be converted.
  */
  sConfig.Channel = ADC_CHANNEL_15;
  if (HAL_ADC_ConfigChannel(&hadc, &sConfig) != HAL_OK)
  {
    Error_Handler();
  }

  /** Configure for the selected ADC regular channel to be converted.
  */
  sConfig.Channel = ADC_CHANNEL_TEMPSENSOR;
  if (HAL_ADC_ConfigChannel(&hadc, &sConfig) != HAL_OK)
  {
    Error_Handler();
  }

  /** Configure for the selected ADC regular channel to be converted.
  */
  sConfig.Channel = ADC_CHANNEL_VREFINT;
  if (HAL_ADC_ConfigChannel(&hadc, &sConfig) != HAL_OK)
  {
    Error_Handler();
  }

}

static void MX_DAC1_Init(void)
{

  /* USER CODE BEGIN DAC1_Init 0 */
  step = 0;
  /* USER CODE END DAC1_Init 0 */

  DAC_ChannelConfTypeDef sConfig = {0};

  /** DAC Initialization
  */
  hdac1.Instance = DAC;
  if (HAL_DAC_Init(&hdac1) != HAL_OK)
  {
    Error_Handler();
  }

  /** DAC channel OUT1 config
  */
  sConfig.DAC_Trigger = DAC_TRIGGER_NONE;
  sConfig.DAC_OutputBuffer = DAC_OUTPUTBUFFER_ENABLE;
  if (HAL_DAC_ConfigChannel(&hdac1, &sConfig, DAC_CHANNEL_1) != HAL_OK)
  {
    Error_Handler();
  }

}

static void MX_I2C1_Init(void)
{

  hi2c1.Instance = I2C1;
  hi2c1.Init.Timing = 0x2000090E;
  hi2c1.Init.OwnAddress1 = 0;
  hi2c1.Init.AddressingMode = I2C_ADDRESSINGMODE_7BIT;
  hi2c1.Init.DualAddressMode = I2C_DUALADDRESS_DISABLE;
  hi2c1.Init.OwnAddress2 = 0;
  hi2c1.Init.OwnAddress2Masks = I2C_OA2_NOMASK;
  hi2c1.Init.GeneralCallMode = I2C_GENERALCALL_DISABLE;
  hi2c1.Init.NoStretchMode = I2C_NOSTRETCH_DISABLE;
  if (HAL_I2C_Init(&hi2c1) != HAL_OK)
  {
    Error_Handler();
  }

  /** Configure Analogue filter
  */
  if (HAL_I2CEx_ConfigAnalogFilter(&hi2c1, I2C_ANALOGFILTER_ENABLE) != HAL_OK)
  {
    Error_Handler();
  }

  /** Configure Digital filter
  */
  if (HAL_I2CEx_ConfigDigitalFilter(&hi2c1, 0) != HAL_OK)
  {
    Error_Handler();
  }

}

static void MX_SPI1_Init(void)
{

  /* SPI1 parameter configuration*/
  hspi1.Instance = SPI1;
  hspi1.Init.Mode = SPI_MODE_MASTER;
  hspi1.Init.Direction = SPI_DIRECTION_2LINES_RXONLY;
  hspi1.Init.DataSize = SPI_DATASIZE_16BIT;
  hspi1.Init.CLKPolarity = SPI_POLARITY_LOW;
  hspi1.Init.CLKPhase = SPI_PHASE_1EDGE;
  hspi1.Init.NSS = SPI_NSS_SOFT;
  hspi1.Init.BaudRatePrescaler = SPI_BAUDRATEPRESCALER_16;
  hspi1.Init.FirstBit = SPI_FIRSTBIT_MSB;
  hspi1.Init.TIMode = SPI_TIMODE_DISABLE;
  hspi1.Init.CRCCalculation = SPI_CRCCALCULATION_DISABLE;
  hspi1.Init.CRCPolynomial = 7;
  hspi1.Init.CRCLength = SPI_CRC_LENGTH_DATASIZE;
  hspi1.Init.NSSPMode = SPI_NSS_PULSE_ENABLE;
  if (HAL_SPI_Init(&hspi1) != HAL_OK)
  {
    Error_Handler();
  }

}

static void MX_SPI2_Init(void)
{

  /* SPI2 parameter configuration*/
  hspi2.Instance = SPI2;
  hspi2.Init.Mode = SPI_MODE_MASTER;
  hspi2.Init.Direction = SPI_DIRECTION_2LINES_RXONLY;
  hspi2.Init.DataSize = SPI_DATASIZE_16BIT;
  hspi2.Init.CLKPolarity = SPI_POLARITY_LOW;
  hspi2.Init.CLKPhase = SPI_PHASE_1EDGE;
  hspi2.Init.NSS = SPI_NSS_SOFT;
  hspi2.Init.BaudRatePrescaler = SPI_BAUDRATEPRESCALER_16;
  hspi2.Init.FirstBit = SPI_FIRSTBIT_MSB;
  hspi2.Init.TIMode = SPI_TIMODE_DISABLE;
  hspi2.Init.CRCCalculation = SPI_CRCCALCULATION_DISABLE;
  hspi2.Init.CRCPolynomial = 7;
  hspi2.Init.CRCLength = SPI_CRC_LENGTH_DATASIZE;
  hspi2.Init.NSSPMode = SPI_NSS_PULSE_ENABLE;
  if (HAL_SPI_Init(&hspi2) != HAL_OK)
  {
    Error_Handler();
  }

}

static void MX_TIM1_Init(void)
{

  TIM_ClockConfigTypeDef sClockSourceConfig = {0};
  TIM_MasterConfigTypeDef sMasterConfig = {0};

  htim1.Instance = TIM1;
  htim1.Init.Prescaler = 100 - 1;
  htim1.Init.CounterMode = TIM_COUNTERMODE_UP;
  htim1.Init.Period = 24000 - 1;
  htim1.Init.ClockDivision = TIM_CLOCKDIVISION_DIV1;
  htim1.Init.RepetitionCounter = 0;
  htim1.Init.AutoReloadPreload = TIM_AUTORELOAD_PRELOAD_ENABLE;
  if (HAL_TIM_Base_Init(&htim1) != HAL_OK)
  {
    Error_Handler();
  }
  sClockSourceConfig.ClockSource = TIM_CLOCKSOURCE_INTERNAL;
  if (HAL_TIM_ConfigClockSource(&htim1, &sClockSourceConfig) != HAL_OK)
  {
    Error_Handler();
  }
  sMasterConfig.MasterOutputTrigger = TIM_TRGO_RESET;
  sMasterConfig.MasterSlaveMode = TIM_MASTERSLAVEMODE_DISABLE;
  if (HAL_TIMEx_MasterConfigSynchronization(&htim1, &sMasterConfig) != HAL_OK)
  {
    Error_Handler();
  }

}

static void MX_TIM2_Init(void)
{

  TIM_ClockConfigTypeDef sClockSourceConfig = {0};
  TIM_MasterConfigTypeDef sMasterConfig = {0};

  htim2.Instance = TIM2;
  htim2.Init.Prescaler = 100 - 1;
  htim2.Init.CounterMode = TIM_COUNTERMODE_UP;
  htim2.Init.Period = 24000 - 1;
  htim2.Init.ClockDivision = TIM_CLOCKDIVISION_DIV1;
  htim2.Init.AutoReloadPreload = TIM_AUTORELOAD_PRELOAD_ENABLE;
  if (HAL_TIM_Base_Init(&htim2) != HAL_OK)
  {
    Error_Handler();
  }
  sClockSourceConfig.ClockSource = TIM_CLOCKSOURCE_INTERNAL;
  if (HAL_TIM_ConfigClockSource(&htim2, &sClockSourceConfig) != HAL_OK)
  {
    Error_Handler();
  }
  sMasterConfig.MasterOutputTrigger = TIM_TRGO_RESET;
  sMasterConfig.MasterSlaveMode = TIM_MASTERSLAVEMODE_DISABLE;
  if (HAL_TIMEx_MasterConfigSynchronization(&htim2, &sMasterConfig) != HAL_OK)
  {
    Error_Handler();
  }

}

static void MX_USART1_UART_Init(void)
{

  /* USER CODE BEGIN USART1_Init 0 */
  erpa_seq = 0;
  pmt_seq = 0;
  hk_seq = 0;
  /* USER CODE END USART1_Init 0 */

  huart1.Instance = USART1;
  huart1.Init.BaudRate = 57600;
  huart1.Init.WordLength = UART_WORDLENGTH_8B;
  huart1.Init.StopBits = UART_STOPBITS_1;
  huart1.Init.Parity = UART_PARITY_NONE;
  huart1.Init.Mode = UART_MODE_TX_RX;
  huart1.Init.HwFlowCtl = UART_HWCONTROL_NONE;
  huart1.Init.OverSampling = UART_OVERSAMPLING_16;
  huart1.Init.OneBitSampling = UART_ONE_BIT_SAMPLE_DISABLE;
  huart1.AdvancedInit.AdvFeatureInit = UART_ADVFEATURE_NO_INIT;
  if (HAL_UART_Init(&huart1) != HAL_OK)
  {
    Error_Handler();
  }

}

static void MX_DMA_Init(void)
{

  /* DMA controller clock enable */
  __HAL_RCC_DMA1_CLK_ENABLE();

  /* DMA interrupt init */
  /* DMA1_Channel1_IRQn interrupt configuration */
  HAL_NVIC_SetPriority(DMA1_Channel1_IRQn, 0, 0);
  HAL_NVIC_EnableIRQ(DMA1_Channel1_IRQn);

}

static void MX_GPIO_Init(void)
{
  GPIO_InitTypeDef GPIO_InitStruct = {0};

  /* GPIO Ports Clock Enable */
  __HAL_RCC_GPIOC_CLK_ENABLE();
  __HAL_RCC_GPIOF_CLK_ENABLE();
  __HAL_RCC_GPIOA_CLK_ENABLE();
  __HAL_RCC_GPIOB_CLK_ENABLE();

  /*Configure GPIO pin Output Level */
  HAL_GPIO_WritePin(GPIOC, GPIO_PIN_13|GPIO_PIN_6|GPIO_PIN_7|GPIO_PIN_8
                          |GPIO_PIN_9|GPIO_PIN_10, GPIO_PIN_RESET);

  /*Configure GPIO pin Output Level */
  HAL_GPIO_WritePin(GPIOB, GPIO_PIN_11|GPIO_PIN_5|GPIO_PIN_6, GPIO_PIN_RESET);

  /*Configure GPIO pin Output Level */
  HAL_GPIO_WritePin(GPIOA, GPIO_PIN_8, GPIO_PIN_RESET);

  /*Configure GPIO pin Output Level */
  HAL_GPIO_WritePin(GPIOF, GPIO_PIN_6|GPIO_PIN_7, GPIO_PIN_RESET);

  /*Configure GPIO pins : PC13 PC6 PC7 PC8
                           PC9 PC10 */
  GPIO_InitStruct.Pin = GPIO_PIN_13|GPIO_PIN_6|GPIO_PIN_7|GPIO_PIN_8
                          |GPIO_PIN_9|GPIO_PIN_10;
  GPIO_InitStruct.Mode = GPIO_MODE_OUTPUT_PP;
  GPIO_InitStruct.Pull = GPIO_NOPULL;
  GPIO_InitStruct.Speed = GPIO_SPEED_FREQ_LOW;
  HAL_GPIO_Init(GPIOC, &GPIO_InitStruct);

  /*Configure GPIO pins : PB11 PB5 PB6 */
  GPIO_InitStruct.Pin = GPIO_PIN_11|GPIO_PIN_5|GPIO_PIN_6;
  GPIO_InitStruct.Mode = GPIO_MODE_OUTPUT_PP;
  GPIO_InitStruct.Pull = GPIO_NOPULL;
  GPIO_InitStruct.Speed = GPIO_SPEED_FREQ_LOW;
  HAL_GPIO_Init(GPIOB, &GPIO_InitStruct);

  /*Configure GPIO pin : PA8 */
  GPIO_InitStruct.Pin = GPIO_PIN_8;
  GPIO_InitStruct.Mode = GPIO_MODE_OUTPUT_PP;
  GPIO_InitStruct.Pull = GPIO_NOPULL;
  GPIO_InitStruct.Speed = GPIO_SPEED_FREQ_LOW;
  HAL_GPIO_Init(GPIOA, &GPIO_InitStruct);

  /*Configure GPIO pins : PF6 PF7 */
  GPIO_InitStruct.Pin = GPIO_PIN_6|GPIO_PIN_7;
  GPIO_InitStruct.Mode = GPIO_MODE_OUTPUT_PP;
  GPIO_InitStruct.Pull = GPIO_NOPULL;
  GPIO_InitStruct.Speed = GPIO_SPEED_FREQ_LOW;
  HAL_GPIO_Init(GPIOF, &GPIO_InitStruct);

}

void Error_Handler(void)
{
  __disable_irq();
  while (1)
  {
  }
}
